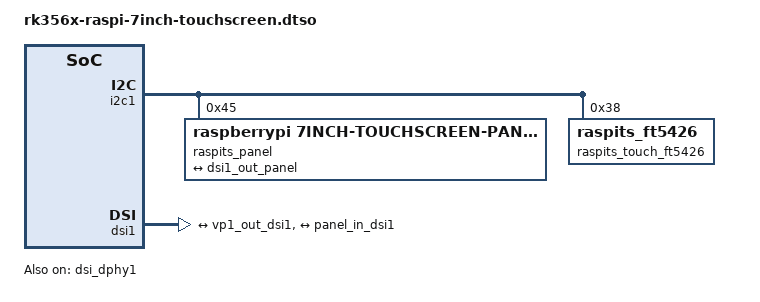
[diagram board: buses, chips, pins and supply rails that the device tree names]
/dts-v1/;
/plugin/;

#include <dt-bindings/soc/rockchip,vop2.h>

&{/} {

};

&i2c1 {
	#address-cells = <1>;
	#size-cells = <0>;
	status = "okay";

	raspits_panel: raspits-panel@45 {
		compatible = "raspberrypi,7inch-touchscreen-panel";
		reg = <0x45>;

		port {
			panel_in_dsi1: endpoint {
				remote-endpoint = <&dsi1_out_panel>;
			};
		};
	};

	raspits_touch_ft5426: raspits-touch-ft5426@38 {
		compatible = "raspits_ft5426";
		reg = <0x38>;
	};
};

&dsi1 {
	status = "okay";

	ports {
		#address-cells = <1>;
		#size-cells = <0>;

		dsi1_in: port@0 {
			reg = <0>;
			dsi1_in_vp2: endpoint {
				remote-endpoint = <&vp1_out_dsi1>;
			};
		};

		dsi1_out: port@1 {
			reg = <1>;
			dsi1_out_panel: endpoint {
				remote-endpoint = <&panel_in_dsi1>;
			};
		};
	};
};

&dsi_dphy1 {
	status = "okay";
};

&vop_out {
	#address-cells = <1>;
	#size-cells = <0>;

	vp1: port@1 {
		reg = <1>;
		#address-cells = <1>;
		#size-cells = <0>;

		vp1_out_dsi1: endpoint@ROCKCHIP_VOP2_EP_MIPI1 {
			reg = <ROCKCHIP_VOP2_EP_MIPI1>;
			remote-endpoint = <&dsi1_in_vp2>;
		};
	};
};
